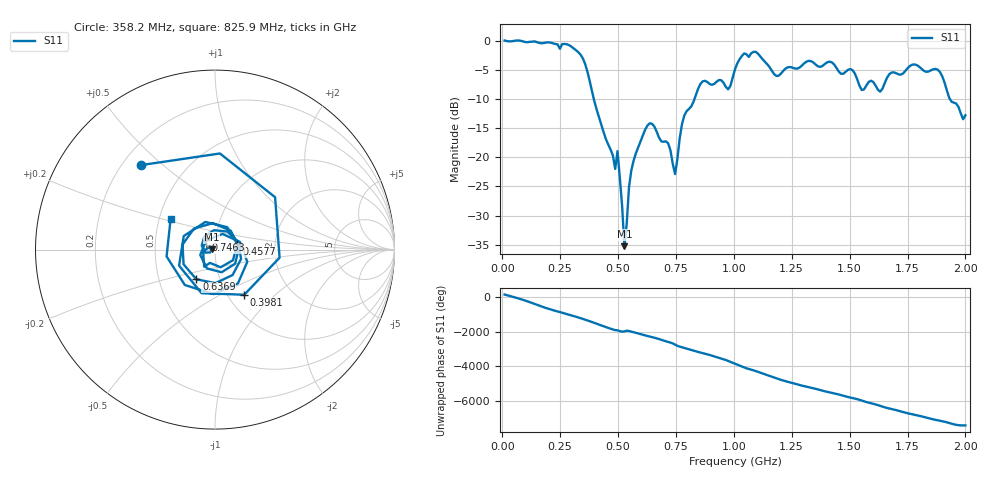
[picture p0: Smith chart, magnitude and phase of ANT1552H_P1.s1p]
!Created with skrf (http://scikit-rf.org).
# Hz S RI R 50.0
!freq ReS11 ImS11
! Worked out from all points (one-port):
!   201 points, 10 MHz to 2 GHz, reference 50 ohm
!   lowest |S11| = -35.3 dB at 527.4 MHz (marker M1), VSWR 1.04, Z = 48.3 + j0.179 ohm
!   |S11| at or under -10 dB: 395.2 MHz to 830.1 MHz (434.9 MHz wide, 71 % of centre); 1.933 GHz to end of sweep
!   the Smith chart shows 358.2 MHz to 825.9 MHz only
!   S11 on the Smith chart (normalised r, x): 358.2 MHz: 0.27, +0.42; 398.1 MHz: 1.19, -0.66; 457.8 MHz: 1.28, +0.08; 636.9 MHz: 0.77, -0.27; 746.3 MHz: 0.90, +0.10; 825.9 MHz: 0.57, +0.21
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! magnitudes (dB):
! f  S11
! 10 MHz  0.0
! 258.8 MHz  -0.6
! 358.2 MHz  -4.1
! 398.1 MHz  -10.5
! 457.8 MHz  -17.8
! 487.6 MHz  -22.0
! 497.6 MHz  -19.0
! 507.5 MHz  -23.5
! 527.4 MHz  -35.3
! 557.2 MHz  -22.3
! 636.9 MHz  -14.2
! 716.5 MHz  -17.6
! 746.3 MHz  -22.9
! 756.2 MHz  -20.3
! 786.1 MHz  -12.9
! 825.9 MHz  -10.5
! 865.7 MHz  -7.0
! 975.1 MHz  -8.4
! 1.005 GHz  -4.9
! 1.095 GHz  -1.9
! 1.184 GHz  -6.1
! 1.254 GHz  -4.6
! 1.502 GHz  -4.9
! 1.552 GHz  -8.5
! 1.632 GHz  -8.8
! 1.751 GHz  -4.7
! 1.881 GHz  -5.0
! 2 GHz  -12.8
